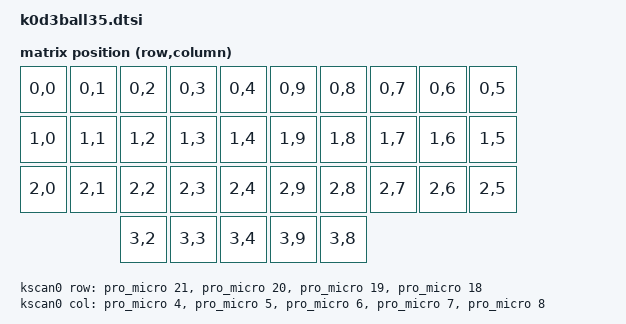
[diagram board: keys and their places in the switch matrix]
/*
 * k0d3ball35: 35-key wireless split with a 19 mm trackball on the right half.
 *
 * Shared devicetree for both halves. The keyboard is two separate PCBs:
 *   left  = 15 finger keys + 3 thumb keys (matrix row 3, columns 2, 3, 4)
 *   right = 15 finger keys + 2 thumb keys (matrix row 3, columns 3, 4) + PAW3222
 * Both controllers use the identical pin set (spec/01-design-spec.md section 2,
 * Pro Micro numbering of the nice!nano v2), so the kscan GPIOs live here; the
 * per-side overlays only add the column offset and the sensor.
 *
 * Matrix cells (3,0) and (3,1) are empty on both halves, (3,2) only on the right: since r2.3
 * the ball sits where the right half's outer thumb key used to be.
 */

#include <dt-bindings/zmk/matrix_transform.h>
#include "k0d3ball35-layouts.dtsi"

&k0d3ball35_layout {
    transform = <&default_transform>;
    kscan = <&kscan0>;
};

/ {
    chosen {
        zmk,kscan = &kscan0;
        zmk,physical-layout = &k0d3ball35_layout;
    };

    default_transform: keymap_transform_0 {
        compatible = "zmk,matrix-transform";
        columns = <10>;
        rows = <4>;
// | pinky | ring | mid | idx | inner |   | inner | idx | mid | ring | pinky |
        map = <
RC(0,0) RC(0,1) RC(0,2) RC(0,3) RC(0,4)    RC(0,9) RC(0,8) RC(0,7) RC(0,6) RC(0,5)
RC(1,0) RC(1,1) RC(1,2) RC(1,3) RC(1,4)    RC(1,9) RC(1,8) RC(1,7) RC(1,6) RC(1,5)
RC(2,0) RC(2,1) RC(2,2) RC(2,3) RC(2,4)    RC(2,9) RC(2,8) RC(2,7) RC(2,6) RC(2,5)
                RC(3,2) RC(3,3) RC(3,4)    RC(3,9) RC(3,8)
        >;
        // Thumb row, left to right on the desk: left outer, middle, inner (0/10/20 deg),
        // then right inner (col 4 -> 9 with the col-offset) and right middle (col 3 -> 8).
        // The right half has no outer thumb key; the ball pocket is there.
    };

    kscan0: kscan {
        compatible = "zmk,kscan-gpio-matrix";
        wakeup-source;
        diode-direction = "col2row";
        row-gpios
            = <&pro_micro 21 (GPIO_ACTIVE_HIGH | GPIO_PULL_DOWN)>
            , <&pro_micro 20 (GPIO_ACTIVE_HIGH | GPIO_PULL_DOWN)>
            , <&pro_micro 19 (GPIO_ACTIVE_HIGH | GPIO_PULL_DOWN)>
            , <&pro_micro 18 (GPIO_ACTIVE_HIGH | GPIO_PULL_DOWN)>
            ;
        col-gpios
            = <&pro_micro 4 GPIO_ACTIVE_HIGH>
            , <&pro_micro 5 GPIO_ACTIVE_HIGH>
            , <&pro_micro 6 GPIO_ACTIVE_HIGH>
            , <&pro_micro 7 GPIO_ACTIVE_HIGH>
            , <&pro_micro 8 GPIO_ACTIVE_HIGH>
            ;
    };

    /*
     * Scaffold for a trackball on the peripheral half (left-ball build or a
     * dongle build). The peripheral points `trackball_split` at its sensor, the
     * central enables `trackball_split_listener`. Unused in the default build.
     */
    split_inputs {
        #address-cells = <1>;
        #size-cells = <0>;

        trackball_split: trackball_split@0 {
            compatible = "zmk,input-split";
            reg = <0>;
            /* enable on both halves for a left-ball build; the peripheral must
             * also set `device = <&trackball>;` */
            status = "disabled";
        };
    };

    trackball_split_listener: trackball_split_listener {
        compatible = "zmk,input-listener";
        status = "disabled";
        device = <&trackball_split>;
    };
};
